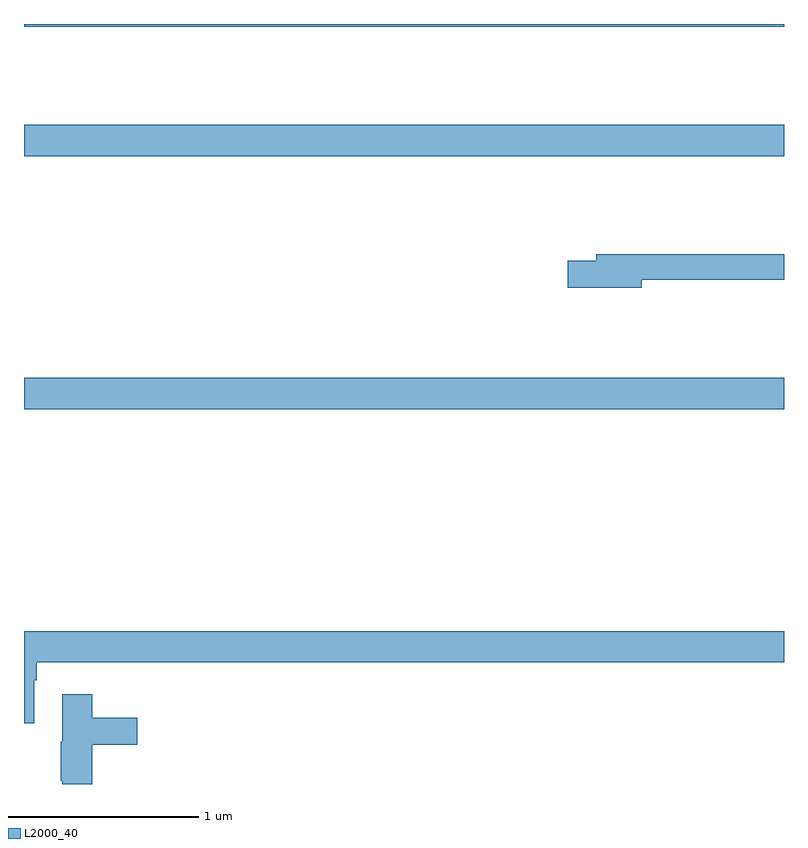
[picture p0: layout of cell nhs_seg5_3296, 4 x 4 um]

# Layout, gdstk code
import gdstk
lib = gdstk.Library(unit=1e-6, precision=1e-09)
def R(c, l, rs):  # rectangles x0, y0, x1, y1
    for r in rs: c.add(gdstk.rectangle(r[:2], r[2:], *l))
def P(c, l, *ps):  # polygons
    for p in ps: c.add(gdstk.Polygon(p, *l))
L2000_40 = (2000, 40)

nhs_seg5_3296 = lib.new_cell('nhs_seg5_3296')
R(nhs_seg5_3296, L2000_40, [(303,844.772,307,844.936), (303,846.104,307,846.268), (303,846.784,307,846.799)])
P(nhs_seg5_3296, L2000_40, [(306.25,845.452),(307,845.452),(307,845.588),(306.011,845.588),(306.011,845.552),(305.862,845.552),(305.862,845.41),(306.25,845.41)],
  [(303.055,843.344),(303.068,843.344),(303.068,843.44),(307,843.44),(307,843.604),(303,843.604),(303,843.12),(303.055,843.12)],
  [(303.359,843.005),(303.595,843.005),(303.595,843.147),(303.359,843.147),(303.359,843.271),(303.2,843.271),(303.2,843.021),(303.193,843.021),(303.193,842.815),(303.2,842.815),(303.2,842.799),(303.359,842.799)])

lib.write_gds('nhs_seg5_3296.gds')
